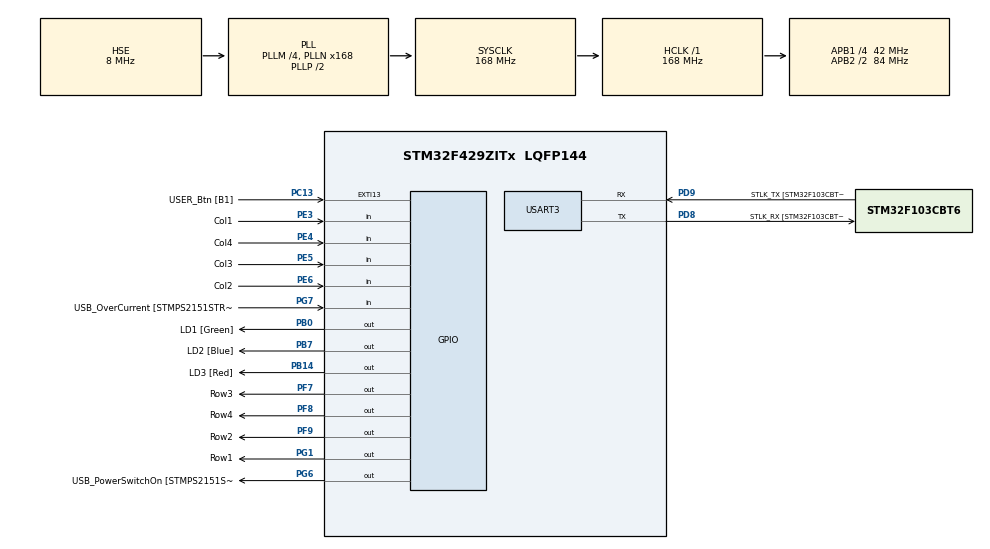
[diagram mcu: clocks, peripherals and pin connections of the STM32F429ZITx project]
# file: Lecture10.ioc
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Mcu.Family=STM32F4
Mcu.Name=STM32F429ZITx
Mcu.Package=LQFP144
NVIC.PriorityGroup=NVIC_PRIORITYGROUP_4
NVIC.TIM3_IRQn=true\:0\:0\:false\:false\:true\:true\:true\:true
PA1.GPIO_Label=RMII_REF_CLK [LAN8742A-CZ-TR_REFCLK0]
PA1.Signal=ETH_REF_CLK
PA10.GPIO_Label=USB_ID
PA10.Signal=USB_OTG_FS_ID
PA11.GPIO_Label=USB_DM
PA11.Signal=USB_OTG_FS_DM
PA12.GPIO_Label=USB_DP
PA12.Signal=USB_OTG_FS_DP
PA13.GPIO_Label=TMS
PA13.Mode=Serial_Wire
PA13.Signal=SYS_JTMS-SWDIO
PA14.GPIO_Label=TCK
PA14.Mode=Serial_Wire
PA14.Signal=SYS_JTCK-SWCLK
PA2.GPIO_Label=RMII_MDIO [LAN8742A-CZ-TR_MDIO]
PA2.Signal=ETH_MDIO
PA7.GPIO_Label=RMII_CRS_DV [LAN8742A-CZ-TR_CRS_DV]
PA7.Signal=ETH_CRS_DV
PA8.GPIO_Label=USB_SOF [TP1]
PA8.Signal=USB_OTG_FS_SOF
PA9.GPIO_Label=USB_VBUS
PA9.Signal=USB_OTG_FS_VBUS
PB0.GPIO_Label=LD1 [Green]
PB0.Signal=GPIO_Output
PB13.GPIO_Label=RMII_TXD1 [LAN8742A-CZ-TR_TXD1]
PB13.Signal=ETH_TXD1
PB14.GPIO_Label=LD3 [Red]
PB14.Signal=GPIO_Output
PB7.GPIO_Label=LD2 [Blue]
PB7.Signal=GPIO_Output
PC1.GPIO_Label=RMII_MDC [LAN8742A-CZ-TR_MDC]
PC1.Signal=ETH_MDC
PC13.GPIO_Label=USER_Btn [B1]
PC13.Signal=GPXTI13
PC14/OSC32_IN.Mode=LSE-External-Oscillator
PC14/OSC32_IN.Signal=RCC_OSC32_IN
PC15/OSC32_OUT.Mode=LSE-External-Oscillator
PC15/OSC32_OUT.Signal=RCC_OSC32_OUT
PC4.GPIO_Label=RMII_RXD0 [LAN8742A-CZ-TR_RXD0]
PC4.Signal=ETH_RXD0
PC5.GPIO_Label=RMII_RXD1 [LAN8742A-CZ-TR_RXD1]
PC5.Signal=ETH_RXD1
PD8.GPIO_Label=STLK_RX [STM32F103CBT6_PA3]
PD8.Mode=Asynchronous
PD8.Signal=USART3_TX
PD9.GPIO_Label=STLK_TX [STM32F103CBT6_PA2]
PD9.Mode=Asynchronous
PD9.Signal=USART3_RX
PE3.GPIO_Label=Col1
PE3.GPIO_PuPd=GPIO_PULLUP
PE3.Signal=GPIO_Input
PE4.GPIO_Label=Col4
PE4.GPIO_PuPd=GPIO_PULLUP
PE4.Signal=GPIO_Input
PE5.GPIO_Label=Col3
PE5.GPIO_PuPd=GPIO_PULLUP
PE5.Signal=GPIO_Input
PE6.GPIO_Label=Col2
PE6.GPIO_PuPd=GPIO_PULLUP
PE6.Signal=GPIO_Input
PF7.GPIO_Label=Row3
PF7.GPIO_ModeDefaultOutputPP=GPIO_MODE_OUTPUT_OD
PF7.GPIO_PuPd=GPIO_NOPULL
PF7.Signal=GPIO_Output
PF8.GPIO_Label=Row4
PF8.GPIO_ModeDefaultOutputPP=GPIO_MODE_OUTPUT_OD
PF8.GPIO_PuPd=GPIO_NOPULL
PF8.Signal=GPIO_Output
PF9.GPIO_Label=Row2
PF9.GPIO_ModeDefaultOutputPP=GPIO_MODE_OUTPUT_OD
PF9.GPIO_PuPd=GPIO_NOPULL
PF9.Signal=GPIO_Output
PG1.GPIO_Label=Row1
PG1.GPIO_ModeDefaultOutputPP=GPIO_MODE_OUTPUT_OD
PG1.GPIO_PuPd=GPIO_NOPULL
PG1.Signal=GPIO_Output
PG11.GPIO_Label=RMII_TX_EN [LAN8742A-CZ-TR_TXEN]
PG11.Signal=ETH_TX_EN
PG13.GPIO_Label=RMII_TXD0 [LAN8742A-CZ-TR_TXD0]
PG13.Signal=ETH_TXD0
PG6.GPIO_Label=USB_PowerSwitchOn [STMPS2151STR_EN]
PG6.Signal=GPIO_Output
PG7.GPIO_Label=USB_OverCurrent [STMPS2151STR_FAULT]
PG7.Signal=GPIO_Input
PH0/OSC_IN.GPIO_Label=MCO [STM32F103CBT6_PA8]
PH0/OSC_IN.Mode=HSE-External-Clock-Source
PH0/OSC_IN.Signal=RCC_OSC_IN
PH1/OSC_OUT.Mode=HSE-External-Clock-Source
PH1/OSC_OUT.Signal=RCC_OSC_OUT
ProjectManager.HeapSize=0x200
ProjectManager.StackSize=0x400
ProjectManager.TargetToolchain=STM32CubeIDE
RCC.48MHZClocksFreq_Value=48000000
RCC.AHBFreq_Value=168000000
RCC.APB1CLKDivider=RCC_HCLK_DIV4
RCC.APB1Freq_Value=42000000
RCC.APB1TimFreq_Value=84000000
RCC.APB2CLKDivider=RCC_HCLK_DIV2
RCC.APB2Freq_Value=84000000
RCC.APB2TimCLKDivider=2
RCC.APB2TimFreq_Value=168000000
RCC.CortexFreq_Value=168000000
RCC.HCLKFreq_Value=168000000
RCC.HSE_VALUE=8000000
RCC.HSI_VALUE=16000000
RCC.PLLM=4
RCC.PLLMUL=RCC_PLL_MUL9
RCC.PLLN=168
RCC.PLLQ=7
RCC.PLLSourceVirtual=RCC_PLLSOURCE_HSE
RCC.PRESCALERUSB=RCC_USBCLKSOURCE_PLL_DIV1_5
RCC.SYSCLKFreq_VALUE=168000000
RCC.SYSCLKSource=RCC_SYSCLKSOURCE_PLLCLK
RCC.SYSCLKSourceVirtual=RCC_SYSCLKSOURCE_PLLCLK
RCC.USBFreq_Value=48000000
RCC.VCOOutputFreq_Value=336000000
TIM3.AutoReloadPreload=TIM_AUTORELOAD_PRELOAD_ENABLE
TIM3.Period=99
TIM3.Prescaler=8399
USART3.VirtualMode=VM_ASYNC
VP_TIM3_VS_ClockSourceINT.Mode=Internal
board=NUCLEO-F429ZI

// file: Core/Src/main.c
/* USER CODE BEGIN Header */
/**
  ******************************************************************************
  * @file           : main.c
  * @brief          : Main program body
  ******************************************************************************
  * @attention
  *
  * Copyright (c) 2024 STMicroelectronics.
  * All rights reserved.
  *
  * This software is licensed under terms that can be found in the LICENSE file
  * in the root directory of this software component.
  * If no LICENSE file comes with this software, it is provided AS-IS.
  *
  ******************************************************************************
  */
/* USER CODE END Header */
#include "main.h"

/* USER CODE BEGIN Includes */
#include <stdio.h>
/* USER CODE END Includes */

TIM_HandleTypeDef htim3;

UART_HandleTypeDef huart3;

/* USER CODE BEGIN PV */
static volatile char key = 0; // =0 is not necesary, global variable should be set to location that is 0 by default
const char password[5] = { '7', '9', '3', '2', '#' };
char input[5] = { '0', '0', '0', '0', '0' };
int position = 0; // Current position in the password
uint32_t lastKeyPressTime = 0; // To track the last key press time
const uint32_t timeoutDuration = 3000; // Timeout duration in milliseconds
/* USER CODE END PV */

void SystemClock_Config(void);
static void MX_GPIO_Init(void);
static void MX_USART3_UART_Init(void);
static void MX_TIM3_Init(void);

/* USER CODE BEGIN 0 */
// function to transfer printf() to
int __io_putchar(int ch){
	ITM_SendChar(ch);
	return 0;
}

void HAL_TIM_PeriodElapsedCallback(TIM_HandleTypeDef *htim){
 static uint8_t row = 0;
 static const char keyboard[4][4] = {
 { '1', '2', '3', 'A' },
 { '4', '5', '6', 'B' },
 { '7', '8', '9', 'C' },
 { '*', '0', '#', 'D' },
 };
 if (key == 0) {
	 if (HAL_GPIO_ReadPin(Col1_GPIO_Port, Col1_Pin) == GPIO_PIN_RESET) {key = keyboard[row][0];}
	 if (HAL_GPIO_ReadPin(Col2_GPIO_Port, Col2_Pin) == GPIO_PIN_RESET) {key = keyboard[row][1];}
	 if (HAL_GPIO_ReadPin(Col3_GPIO_Port, Col3_Pin) == GPIO_PIN_RESET) {key = keyboard[row][2];}
	 if (HAL_GPIO_ReadPin(Col4_GPIO_Port, Col4_Pin) == GPIO_PIN_RESET) {key = keyboard[row][3];}
	 }
  HAL_GPIO_WritePin(Row1_GPIO_Port, Row1_Pin, GPIO_PIN_SET);
  HAL_GPIO_WritePin(Row2_GPIO_Port, Row2_Pin, GPIO_PIN_SET);
  HAL_GPIO_WritePin(Row3_GPIO_Port, Row3_Pin, GPIO_PIN_SET);
  HAL_GPIO_WritePin(Row4_GPIO_Port, Row4_Pin, GPIO_PIN_SET);
  switch (row) {
  	  case 0:	row = 1; HAL_GPIO_WritePin(Row2_GPIO_Port, Row2_Pin, GPIO_PIN_RESET); break;
  	  case 1:	row = 2; HAL_GPIO_WritePin(Row3_GPIO_Port, Row3_Pin, GPIO_PIN_RESET); break;
  	  case 2:	row = 3; HAL_GPIO_WritePin(Row4_GPIO_Port, Row4_Pin, GPIO_PIN_RESET); break;
  	  case 3:	row = 0; HAL_GPIO_WritePin(Row1_GPIO_Port, Row1_Pin, GPIO_PIN_RESET); break;
  }
}

/* USER CODE END 0 */

int main(void)
{

  /* MCU Configuration--------------------------------------------------------*/

  /* Reset of all peripherals, Initializes the Flash interface and the Systick. */
  HAL_Init();

  /* Configure the system clock */
  SystemClock_Config();

  /* Initialize all configured peripherals */
  MX_GPIO_Init();
  MX_USART3_UART_Init();
  MX_TIM3_Init();
  /* USER CODE BEGIN 2 */
  HAL_TIM_Base_Start_IT(&htim3);
  /* USER CODE END 2 */

  /* Infinite loop */
  /* USER CODE BEGIN WHILE */
  while (1)
  {
	  /*// easy blinking with blocking delay and testing printf function for debuger via 1WW
	  printf("Tick\n");
	  HAL_GPIO_TogglePin(LD1_GPIO_Port, LD1_Pin);
	  HAL_Delay(250);
	  */

	  /*// matrix keyboard testing keys
	  if (key != 0) {
	   printf("pressed '%c'\n", key);
	   HAL_Delay(500);
	   key = 0;
	  }
	  */

	  //Matrix keyboard num code password
	  if (key != 0) {
		  printf("pressed '%c'\n", key);
		  if (position<=4){
			  if(key == password[position]){
				  printf("correct key\n");
				  input[position++] = key;
			  } else {
				  printf("wrong key\n");
				  input[0] = '0';
				  input[1] = '0';
				  input[2] = '0';
				  input[3] = '0';
				  input[4] = '0';
				  position = 0;
			  }
		  }
		  printf("code sequence '%s'\n", input);
		  lastKeyPressTime = HAL_GetTick(); // Update last key press time
		  HAL_Delay(500);
		  key = 0; // Reset key
		  if(position == 5 && input[4] == '#'){
			HAL_GPIO_WritePin(LD1_GPIO_Port, LD1_Pin, GPIO_PIN_SET);
			printf("Access Granted!\n");
			  input[0] = '0';
			  input[1] = '0';
			  input[2] = '0';
			  input[3] = '0';
			  input[4] = '0';
			  position = 0;
			  printf("Start again '%s'\n", input);
		  } else if (position == 5){
			  // Password is incorrect
			  HAL_GPIO_WritePin(LD1_GPIO_Port, LD1_Pin, GPIO_PIN_RESET);
			  printf("Access Denied!\n");
			  input[0] = '0';
			  input[1] = '0';
			  input[2] = '0';
			  input[3] = '0';
			  input[4] = '0';
			  position = 0;
			  printf("Start again '%s'\n", input);
		  } else if (position >= 6) {position = 0;}

	  }
	  if (HAL_GetTick() > lastKeyPressTime + timeoutDuration && input[0] != '0'){
		  lastKeyPressTime = HAL_GetTick();
		  printf("Long Time no see \n");
		  input[0] = '0';
		  input[1] = '0';
		  input[2] = '0';
		  input[3] = '0';
		  input[4] = '0';
		  position = 0;
		  printf("Start again '%s'\n", input);
	  }
    /* USER CODE END WHILE */

  }
}

void SystemClock_Config(void)
{
  RCC_OscInitTypeDef RCC_OscInitStruct = {0};
  RCC_ClkInitTypeDef RCC_ClkInitStruct = {0};

  /** Configure the main internal regulator output voltage
  */
  __HAL_RCC_PWR_CLK_ENABLE();
  __HAL_PWR_VOLTAGESCALING_CONFIG(PWR_REGULATOR_VOLTAGE_SCALE1);

  /** Initializes the RCC Oscillators according to the specified parameters
  * in the RCC_OscInitTypeDef structure.
  */
  RCC_OscInitStruct.OscillatorType = RCC_OSCILLATORTYPE_HSE;
  RCC_OscInitStruct.HSEState = RCC_HSE_BYPASS;
  RCC_OscInitStruct.PLL.PLLState = RCC_PLL_ON;
  RCC_OscInitStruct.PLL.PLLSource = RCC_PLLSOURCE_HSE;
  RCC_OscInitStruct.PLL.PLLM = 4;
  RCC_OscInitStruct.PLL.PLLN = 168;
  RCC_OscInitStruct.PLL.PLLP = RCC_PLLP_DIV2;
  RCC_OscInitStruct.PLL.PLLQ = 7;
  if (HAL_RCC_OscConfig(&RCC_OscInitStruct) != HAL_OK)
  {
    Error_Handler();
  }

  /** Initializes the CPU, AHB and APB buses clocks
  */
  RCC_ClkInitStruct.ClockType = RCC_CLOCKTYPE_HCLK|RCC_CLOCKTYPE_SYSCLK
                              |RCC_CLOCKTYPE_PCLK1|RCC_CLOCKTYPE_PCLK2;
  RCC_ClkInitStruct.SYSCLKSource = RCC_SYSCLKSOURCE_PLLCLK;
  RCC_ClkInitStruct.AHBCLKDivider = RCC_SYSCLK_DIV1;
  RCC_ClkInitStruct.APB1CLKDivider = RCC_HCLK_DIV4;
  RCC_ClkInitStruct.APB2CLKDivider = RCC_HCLK_DIV2;

  if (HAL_RCC_ClockConfig(&RCC_ClkInitStruct, FLASH_LATENCY_5) != HAL_OK)
  {
    Error_Handler();
  }
}

static void MX_TIM3_Init(void)
{

  TIM_ClockConfigTypeDef sClockSourceConfig = {0};
  TIM_MasterConfigTypeDef sMasterConfig = {0};

  htim3.Instance = TIM3;
  htim3.Init.Prescaler = 8399;
  htim3.Init.CounterMode = TIM_COUNTERMODE_UP;
  htim3.Init.Period = 99;
  htim3.Init.ClockDivision = TIM_CLOCKDIVISION_DIV1;
  htim3.Init.AutoReloadPreload = TIM_AUTORELOAD_PRELOAD_ENABLE;
  if (HAL_TIM_Base_Init(&htim3) != HAL_OK)
  {
    Error_Handler();
  }
  sClockSourceConfig.ClockSource = TIM_CLOCKSOURCE_INTERNAL;
  if (HAL_TIM_ConfigClockSource(&htim3, &sClockSourceConfig) != HAL_OK)
  {
    Error_Handler();
  }
  sMasterConfig.MasterOutputTrigger = TIM_TRGO_RESET;
  sMasterConfig.MasterSlaveMode = TIM_MASTERSLAVEMODE_DISABLE;
  if (HAL_TIMEx_MasterConfigSynchronization(&htim3, &sMasterConfig) != HAL_OK)
  {
    Error_Handler();
  }

}

static void MX_USART3_UART_Init(void)
{

  huart3.Instance = USART3;
  huart3.Init.BaudRate = 115200;
  huart3.Init.WordLength = UART_WORDLENGTH_8B;
  huart3.Init.StopBits = UART_STOPBITS_1;
  huart3.Init.Parity = UART_PARITY_NONE;
  huart3.Init.Mode = UART_MODE_TX_RX;
  huart3.Init.HwFlowCtl = UART_HWCONTROL_NONE;
  huart3.Init.OverSampling = UART_OVERSAMPLING_16;
  if (HAL_UART_Init(&huart3) != HAL_OK)
  {
    Error_Handler();
  }

}

static void MX_GPIO_Init(void)
{
  GPIO_InitTypeDef GPIO_InitStruct = {0};

  /* GPIO Ports Clock Enable */
  __HAL_RCC_GPIOE_CLK_ENABLE();
  __HAL_RCC_GPIOC_CLK_ENABLE();
  __HAL_RCC_GPIOF_CLK_ENABLE();
  __HAL_RCC_GPIOH_CLK_ENABLE();
  __HAL_RCC_GPIOA_CLK_ENABLE();
  __HAL_RCC_GPIOB_CLK_ENABLE();
  __HAL_RCC_GPIOG_CLK_ENABLE();
  __HAL_RCC_GPIOD_CLK_ENABLE();

  /*Configure GPIO pin Output Level */
  HAL_GPIO_WritePin(GPIOF, Row3_Pin|Row4_Pin|Row2_Pin, GPIO_PIN_RESET);

  /*Configure GPIO pin Output Level */
  HAL_GPIO_WritePin(GPIOB, LD1_Pin|LD3_Pin|LD2_Pin, GPIO_PIN_RESET);

  /*Configure GPIO pin Output Level */
  HAL_GPIO_WritePin(GPIOG, Row1_Pin|USB_PowerSwitchOn_Pin, GPIO_PIN_RESET);

  /*Configure GPIO pins : Col1_Pin Col4_Pin Col3_Pin Col2_Pin */
  GPIO_InitStruct.Pin = Col1_Pin|Col4_Pin|Col3_Pin|Col2_Pin;
  GPIO_InitStruct.Mode = GPIO_MODE_INPUT;
  GPIO_InitStruct.Pull = GPIO_PULLUP;
  HAL_GPIO_Init(GPIOE, &GPIO_InitStruct);

  /*Configure GPIO pin : USER_Btn_Pin */
  GPIO_InitStruct.Pin = USER_Btn_Pin;
  GPIO_InitStruct.Mode = GPIO_MODE_IT_RISING;
  GPIO_InitStruct.Pull = GPIO_NOPULL;
  HAL_GPIO_Init(USER_Btn_GPIO_Port, &GPIO_InitStruct);

  /*Configure GPIO pins : Row3_Pin Row4_Pin Row2_Pin */
  GPIO_InitStruct.Pin = Row3_Pin|Row4_Pin|Row2_Pin;
  GPIO_InitStruct.Mode = GPIO_MODE_OUTPUT_OD;
  GPIO_InitStruct.Pull = GPIO_NOPULL;
  GPIO_InitStruct.Speed = GPIO_SPEED_FREQ_LOW;
  HAL_GPIO_Init(GPIOF, &GPIO_InitStruct);

  /*Configure GPIO pins : RMII_MDC_Pin RMII_RXD0_Pin RMII_RXD1_Pin */
  GPIO_InitStruct.Pin = RMII_MDC_Pin|RMII_RXD0_Pin|RMII_RXD1_Pin;
  GPIO_InitStruct.Mode = GPIO_MODE_AF_PP;
  GPIO_InitStruct.Pull = GPIO_NOPULL;
  GPIO_InitStruct.Speed = GPIO_SPEED_FREQ_VERY_HIGH;
  GPIO_InitStruct.Alternate = GPIO_AF11_ETH;
  HAL_GPIO_Init(GPIOC, &GPIO_InitStruct);

  /*Configure GPIO pins : RMII_REF_CLK_Pin RMII_MDIO_Pin RMII_CRS_DV_Pin */
  GPIO_InitStruct.Pin = RMII_REF_CLK_Pin|RMII_MDIO_Pin|RMII_CRS_DV_Pin;
  GPIO_InitStruct.Mode = GPIO_MODE_AF_PP;
  GPIO_InitStruct.Pull = GPIO_NOPULL;
  GPIO_InitStruct.Speed = GPIO_SPEED_FREQ_VERY_HIGH;
  GPIO_InitStruct.Alternate = GPIO_AF11_ETH;
  HAL_GPIO_Init(GPIOA, &GPIO_InitStruct);

  /*Configure GPIO pins : LD1_Pin LD3_Pin LD2_Pin */
  GPIO_InitStruct.Pin = LD1_Pin|LD3_Pin|LD2_Pin;
  GPIO_InitStruct.Mode = GPIO_MODE_OUTPUT_PP;
  GPIO_InitStruct.Pull = GPIO_NOPULL;
  GPIO_InitStruct.Speed = GPIO_SPEED_FREQ_LOW;
  HAL_GPIO_Init(GPIOB, &GPIO_InitStruct);

  /*Configure GPIO pin : Row1_Pin */
  GPIO_InitStruct.Pin = Row1_Pin;
  GPIO_InitStruct.Mode = GPIO_MODE_OUTPUT_OD;
  GPIO_InitStruct.Pull = GPIO_NOPULL;
  GPIO_InitStruct.Speed = GPIO_SPEED_FREQ_LOW;
  HAL_GPIO_Init(Row1_GPIO_Port, &GPIO_InitStruct);

  /*Configure GPIO pin : RMII_TXD1_Pin */
  GPIO_InitStruct.Pin = RMII_TXD1_Pin;
  GPIO_InitStruct.Mode = GPIO_MODE_AF_PP;
  GPIO_InitStruct.Pull = GPIO_NOPULL;
  GPIO_InitStruct.Speed = GPIO_SPEED_FREQ_VERY_HIGH;
  GPIO_InitStruct.Alternate = GPIO_AF11_ETH;
  HAL_GPIO_Init(RMII_TXD1_GPIO_Port, &GPIO_InitStruct);

  /*Configure GPIO pin : USB_PowerSwitchOn_Pin */
  GPIO_InitStruct.Pin = USB_PowerSwitchOn_Pin;
  GPIO_InitStruct.Mode = GPIO_MODE_OUTPUT_PP;
  GPIO_InitStruct.Pull = GPIO_NOPULL;
  GPIO_InitStruct.Speed = GPIO_SPEED_FREQ_LOW;
  HAL_GPIO_Init(USB_PowerSwitchOn_GPIO_Port, &GPIO_InitStruct);

  /*Configure GPIO pin : USB_OverCurrent_Pin */
  GPIO_InitStruct.Pin = USB_OverCurrent_Pin;
  GPIO_InitStruct.Mode = GPIO_MODE_INPUT;
  GPIO_InitStruct.Pull = GPIO_NOPULL;
  HAL_GPIO_Init(USB_OverCurrent_GPIO_Port, &GPIO_InitStruct);

  /*Configure GPIO pins : USB_SOF_Pin USB_ID_Pin USB_DM_Pin USB_DP_Pin */
  GPIO_InitStruct.Pin = USB_SOF_Pin|USB_ID_Pin|USB_DM_Pin|USB_DP_Pin;
  GPIO_InitStruct.Mode = GPIO_MODE_AF_PP;
  GPIO_InitStruct.Pull = GPIO_NOPULL;
  GPIO_InitStruct.Speed = GPIO_SPEED_FREQ_VERY_HIGH;
  GPIO_InitStruct.Alternate = GPIO_AF10_OTG_FS;
  HAL_GPIO_Init(GPIOA, &GPIO_InitStruct);

  /*Configure GPIO pin : USB_VBUS_Pin */
  GPIO_InitStruct.Pin = USB_VBUS_Pin;
  GPIO_InitStruct.Mode = GPIO_MODE_INPUT;
  GPIO_InitStruct.Pull = GPIO_NOPULL;
  HAL_GPIO_Init(USB_VBUS_GPIO_Port, &GPIO_InitStruct);

  /*Configure GPIO pins : RMII_TX_EN_Pin RMII_TXD0_Pin */
  GPIO_InitStruct.Pin = RMII_TX_EN_Pin|RMII_TXD0_Pin;
  GPIO_InitStruct.Mode = GPIO_MODE_AF_PP;
  GPIO_InitStruct.Pull = GPIO_NOPULL;
  GPIO_InitStruct.Speed = GPIO_SPEED_FREQ_VERY_HIGH;
  GPIO_InitStruct.Alternate = GPIO_AF11_ETH;
  HAL_GPIO_Init(GPIOG, &GPIO_InitStruct);

}

void Error_Handler(void)
{
  __disable_irq();
  while (1)
  {
  }
}
